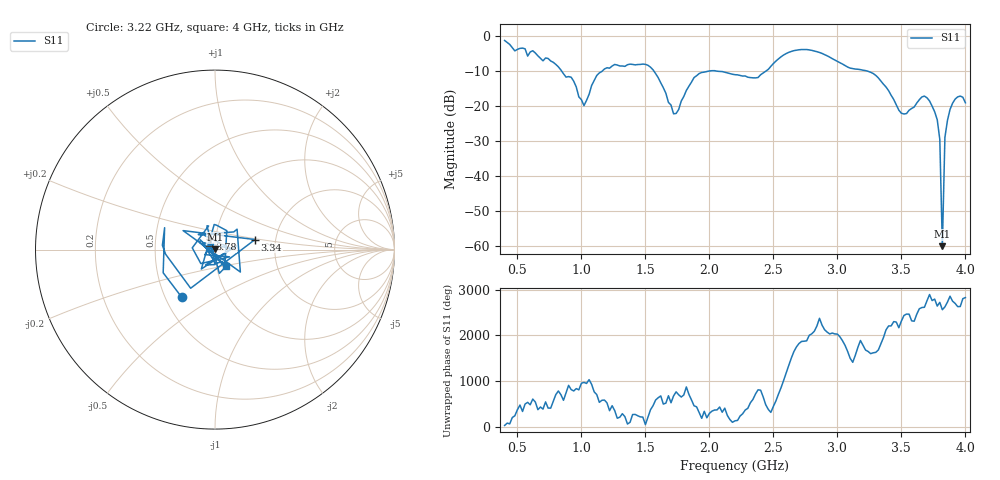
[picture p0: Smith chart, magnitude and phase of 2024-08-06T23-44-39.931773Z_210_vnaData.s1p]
!Created with skrf (http://scikit-rf.org).
# Hz S RI R 50.0
!freq ReS11 ImS11
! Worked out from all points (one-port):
!   181 points, 400 MHz to 4 GHz, reference 50 ohm
!   lowest |S11| = -59.9 dB at 3.82 GHz (marker M1), VSWR 1.00, Z = 50.1 + j0.0619 ohm
!   |S11| at or under -10 dB: 1.568 GHz to 1.987 GHz (419.8 MHz wide, 23.6 % of centre); 2.07 GHz to 2.439 GHz (369.3 MHz wide, 16.4 % of centre); 3.24 GHz to end of sweep (the widest 3 of 4)
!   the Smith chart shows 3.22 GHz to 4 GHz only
!   S11 on the Smith chart (normalised r, x): 3.22 GHz: 0.61, -0.36; 3.34 GHz: 1.56, +0.18; 3.78 GHz: 0.94, +0.11; 4 GHz: 1.11, -0.21
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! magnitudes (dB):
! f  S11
! 400 MHz  -1.2
! 740 MHz  -6.3
! 860 MHz  -10.7
! 920 MHz  -11.7
! 1.02 GHz  -19.8
! 1.12 GHz  -11.2
! 1.3 GHz  -8.5
! 1.52 GHz  -8.3
! 1.6 GHz  -11.8
! 1.72 GHz  -22.1
! 1.76 GHz  -20.9
! 1.92 GHz  -10.6
! 2.2 GHz  -11.0
! 2.38 GHz  -11.8
! 2.66 GHz  -4.1
! 3.1 GHz  -9.1
! 3.22 GHz  -9.8
! 3.34 GHz  -12.8
! 3.5 GHz  -22.0
! 3.56 GHz  -21.1
! 3.68 GHz  -17.1
! 3.78 GHz  -23.8
! 3.8 GHz  -29.4
! 3.82 GHz  -59.9
! 3.84 GHz  -28.8
! 3.86 GHz  -24.0
! 3.92 GHz  -17.9
! 4 GHz  -19.0
